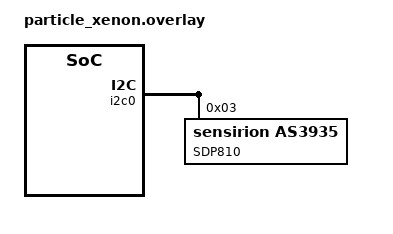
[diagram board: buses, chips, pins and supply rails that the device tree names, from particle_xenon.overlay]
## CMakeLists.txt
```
#
# Copyright (c) 2019 Peter Bigot Consulting, LLC
#
# SPDX-License-Identifier: Apache-2.0
#

cmake_minimum_required(VERSION 3.8.2)
include($ENV{ZEPHYR_BASE}/cmake/app/boilerplate.cmake NO_POLICY_SCOPE)
project(as3935)

FILE(GLOB app_sources src/*.c)
target_sources(app PRIVATE ${app_sources})
```

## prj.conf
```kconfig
#
# Copyright (c) 2018 Peter Bigot Consulting, LLC
#
# SPDX-License-Identifier: Apache-2.0
#

CONFIG_STDOUT_CONSOLE=y
CONFIG_POLL=y
CONFIG_I2C=y
CONFIG_SENSPLE=y
CONFIG_SENSPLE_AS3935=y
CONFIG_LOG=y
CONFIG_SENSPLE_LOG_LEVEL_INF=y
```

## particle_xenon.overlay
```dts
/*
 * Copyright (c) 2018 Peter Bigot Consulting, LLC
 *
 * SPDX-License-Identifier: Apache-2.0
 */

&i2c0 {
	as3935: as3935@3 {
		compatible = "sensirion,as3935";
		reg = <3>;
		label = "SDP810";
	};
};
```

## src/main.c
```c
/*
 * Copyright (c) 2018 Peter Bigot Consulting, LLC
 *
 * SPDX-License-Identifier: Apache-2.0
 */

#include <zephyr.h>
#include "drivers/sensple/as3935.h"
#include <stdio.h>

void main(void)
{
	static const char *binding_name = DT_INST_0_SENSIRION_AS3935_LABEL;
	int rc = 0;

	struct device *dev = device_get_binding(binding_name);
	if (!dev) {
		printf("Could not get %s device\n", binding_name);
		return;
	}
	struct k_poll_signal *as3935_sig = sensple_access(dev);
	if (!as3935_sig) {
		printf("AS3935 not available\n");
		return;
	}

	while (true) {
		struct k_poll_event evt =
			K_POLL_EVENT_INITIALIZER(K_POLL_TYPE_SIGNAL,
						 K_POLL_MODE_NOTIFY_ONLY,
						 as3935_sig);
		rc = k_poll(&evt, 1, K_MSEC(1000));
		if (K_POLL_STATE_SIGNALED == evt.state) {
			k_poll_signal_reset(as3935_sig);
			rc = sensple_work(dev);
			if ((0 < rc)
			    && (SENSPLE_STATE_OBSERVATION_READY & rc)) {
				struct as3935_observation obs;
				rc = as3935_fetch(dev, &obs);
				if (0 <= rc) {
					printf("%d cPa ; %d cCel\n",
					       obs.diffpres_cPa,
					       obs.temperature_cCel);
				} else {
					printf("OBS failed: %d\n", rc);
				}
			}
		} else {
			rc = as3935_sample(dev);
			if (0 != rc) {
				printf("SAMPLE failed: %d\n", rc);
			}
		}
	}

	printf("exit %d\n", rc);
}
```
